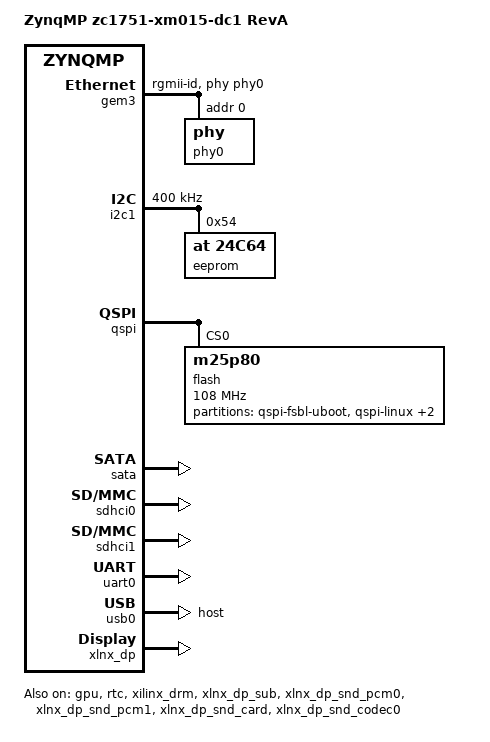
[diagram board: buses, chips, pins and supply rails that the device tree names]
/*
 * dts file for Xilinx ZynqMP zc1751-xm015-dc1
 *
 * (C) Copyright 2015, Xilinx, Inc.
 *
 * Michal Simek <michal.simek@xilinx.com>
 *
 * SPDX-License-Identifier:	GPL-2.0+
 */

/dts-v1/;

/include/ "zynqmp.dtsi"
/include/ "zynqmp-clk.dtsi"
/ {
	model = "ZynqMP zc1751-xm015-dc1 RevA";
	compatible = "xlnx,zynqmp-zc1751", "xlnx,zynqmp";

	aliases {
		ethernet0 = &gem3;
		gpio0 = &gpio;
		i2c0 = &i2c1;
		rtc0 = &rtc;
		serial0 = &uart0;
		spi0 = &qspi;
		usb0 = &usb0;
	};

	chosen {
		bootargs = "earlycon=cdns,mmio,0xff000000,115200n8";
		stdout-path = "serial0:115200n8";
	};

	memory {
		device_type = "memory";
		reg = <0x0 0x0 0x80000000>, <0x8 0x00000000 0x80000000>;
	};
};

/* fpd_dma clk 667MHz, lpd_dma 500MHz */
&fpd_dma_chan1 {
	status = "okay";
	xlnx,include-sg; /* for testing purpose */
	xlnx,overfetch; /* for testing purpose */
	xlnx,ratectrl = <0>; /* for testing purpose */
	xlnx,src-issue = <31>;
};

&fpd_dma_chan2 {
	status = "okay";
	xlnx,ratectrl = <100>; /* for testing purpose */
	xlnx,src-issue = <4>; /* for testing purpose */
};

&fpd_dma_chan3 {
	status = "okay";
};

&fpd_dma_chan4 {
	status = "okay";
	xlnx,include-sg; /* for testing purpose */
};

&fpd_dma_chan5 {
	status = "okay";
};

&fpd_dma_chan6 {
	status = "okay";
	xlnx,include-sg; /* for testing purpose */
};

&fpd_dma_chan7 {
	status = "okay";
};

&fpd_dma_chan8 {
	status = "okay";
	xlnx,include-sg; /* for testing purpose */
};

&gem3 {
	status = "okay";
	local-mac-address = [00 0a 35 00 02 90];
	phy-handle = <&phy0>;
	phy-mode = "rgmii-id";
	phy0: phy@0 {
		reg = <0>;
	};
};

&gpio {
	status = "okay";
};

&gpu {
	status = "okay";
};

&i2c1 {
	status = "okay";
	clock-frequency = <400000>;
	eeprom@54 {
		compatible = "at,24c64"; /* 24AA64 */
		reg = <0x54>;
	};
};

&qspi {
	status = "okay";
	flash@0 {
		compatible = "m25p80"; /* Micron MT25QU512ABB8ESF */
		#address-cells = <1>;
		#size-cells = <1>;
		reg = <0x0>;
		spi-tx-bus-width = <1>;
		spi-rx-bus-width = <4>;
		spi-max-frequency = <108000000>; /* Based on DC1 spec */
		partition@qspi-fsbl-uboot { /* for testing purpose */
			label = "qspi-fsbl-uboot";
			reg = <0x0 0x100000>;
		};
		partition@qspi-linux { /* for testing purpose */
			label = "qspi-linux";
			reg = <0x100000 0x500000>;
		};
		partition@qspi-device-tree { /* for testing purpose */
			label = "qspi-device-tree";
			reg = <0x600000 0x20000>;
		};
		partition@qspi-rootfs { /* for testing purpose */
			label = "qspi-rootfs";
			reg = <0x620000 0x5E0000>;
		};
	};
};

&rtc {
	status = "okay";
};

&sata {
	status = "okay";
};

/* eMMC */
&sdhci0 {
	status = "okay";
};

/* SD1 with level shifter */
&sdhci1 {
	status = "okay";
};

&uart0 {
	status = "okay";
};

/* ULPI SMSC USB3320 */
&usb0 {
	status = "okay";
	dr_mode = "host";
};

&xilinx_drm {
	status = "okay";
};

&xlnx_dp {
	status = "okay";
	xlnx,max-pclock-frequency = <300000>;
};

&xlnx_dp_sub {
	status = "okay";
	xlnx,vid-fmt = "yuyv";
	xlnx,gfx-fmt = "rgb565";
	xlnx,vid-clk-pl;
};

&xlnx_dp_snd_pcm0 {
	status = "okay";
};

&xlnx_dp_snd_pcm1 {
	status = "okay";
};

&xlnx_dp_snd_card {
	status = "okay";
};

&xlnx_dp_snd_codec0 {
	status = "okay";
};

&xlnx_dpdma {
	status = "okay";
};
